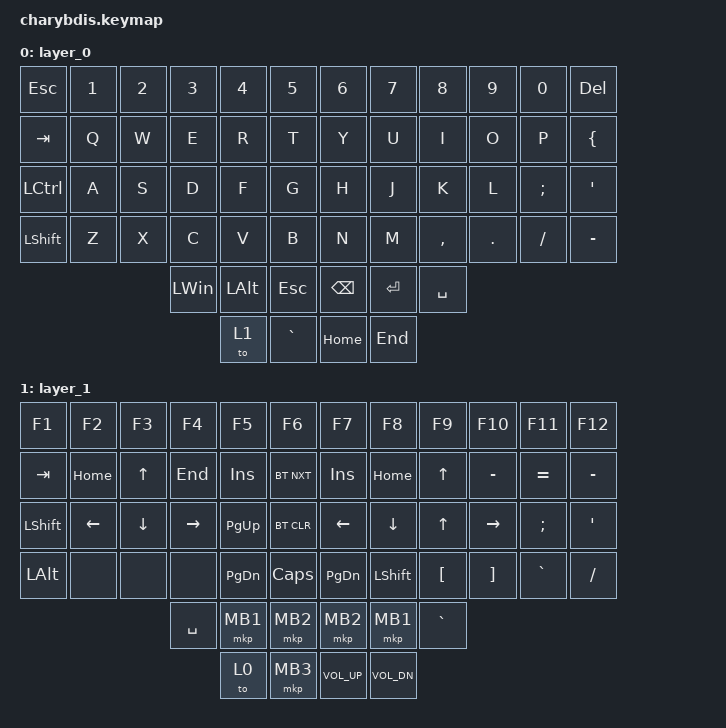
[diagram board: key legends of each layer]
#include <dt-bindings/zmk/mouse.h>
#include <behaviors.dtsi>
#include <dt-bindings/zmk/bt.h>
#include <dt-bindings/zmk/keys.h>

#include <dt-bindings/zmk/outputs.h>
#include <dt-bindings/zmk/rgb.h>
#include <dt-bindings/zmk/ext_power.h>


&lt {
    tapping-term-ms = <200>;
    flavor = "balanced";
    quick-tap-ms = <150>;
};

/ {
    keymap {
        compatible = "zmk,keymap";

        layer_0 {
            bindings = <
&kp ESC         &kp N1  &kp N2  &kp N3        &kp N4     &kp N5      &kp N6         &kp N7     &kp N8       &kp N9      &kp N0    &kp DEL
&kp TAB         &kp Q   &kp W   &kp E         &kp R      &kp T       &kp Y          &kp U      &kp I        &kp O       &kp P     &kp LBRC
&kp LCTRL       &kp A   &kp S   &kp D         &kp F      &kp G       &kp H          &kp J      &kp K        &kp L       &kp SEMI  &kp SQT
&kp LEFT_SHIFT  &kp Z   &kp X   &kp C         &kp V      &kp B       &kp N          &kp M      &kp COMMA    &kp PERIOD  &kp FSLH  &kp MINUS
                                &kp LWIN      &kp LALT   &kp ESC     &kp BSPC       &kp ENTER  &kp SPACE
                                              &to 1      &kp GRAVE   &kp HOME       &kp END 
            >;
           
        };

        layer_1 {
            bindings = <
&kp F1          &kp F2      &kp F3    &kp F4      &kp F5         &kp F6          &kp F7        &kp F8            &kp F9     &kp F10         &kp F11     &kp F12
&kp TAB         &kp HOME    &kp UP    &kp END     &kp INS        &bt BT_NXT      &kp INS       &kp HOME          &kp UP     &kp MINUS       &kp EQUAL   &kp MINUS
&kp LEFT_SHIFT  &kp LEFT    &kp DOWN  &kp RIGHT   &kp PG_UP      &bt BT_CLR      &kp LEFT      &kp DOWN          &kp UP     &kp RIGHT       &kp SEMI     &kp SQT
&kp LALT        &none       &none     &none       &kp PG_DN      &kp CAPS        &kp PG_DN     &kp LEFT_SHIFT    &kp LBKT   &kp RBKT        &kp GRAVE    &kp FSLH
                                      &kp SPACE   &mkp MB1       &mkp MB2        &mkp MB2      &mkp MB1          &kp GRAVE
                                                  &to 0          &mkp MB3        &kp C_VOL_UP  &kp C_VOL_DN



            >;
           
        };

         /* layer_2 {
            bindings = <
&none  &none   &none    &none   &none         &none         &kp N1         &none         &none     &none  &none   &to 0
&none  &none   &none    &none   &none         &none         &none         &none          &rgb_ug RGB_BRD &rgb_ug RGB_BRI  &rgb_ug RGB_EFF   &rgb_ug RGB_TOG
&none  &none   &none    &none   &none         &none         &none         &mkp LCLK     &mkp RCLK  &none  &none   &none
&none  &none   &none    &none   &bt BT_NXT  &bt BT_CLR    &none         &none         &none     &none  &none   &none
                                   &none         &none         &none         &none         &none
                                                 &none         &none         &none
            >;
          trackball-bindings = <&tsl>;
            
        };

       Mouse {
            bindings = <
&none        &none         &none         &none         &none      &none         &none       &none      &none         &none         &none         &none
&none        &bt BT_SEL 0  &bt BT_SEL 1  &bt BT_SEL 3  &none      &bt BT_CLR    &bt BT_CLR  &none      &bt BT_SEL 2  &bt BT_SEL 1  &bt BT_SEL 0  &none
&none        &trans        &trans        &mkp MCLK     &trans     &none         &none       &trans     &mkp MCLK     &trans        &trans        &none
&bootloader  &trans        &mkp RCLK     &mo 4         &mkp LCLK  &mo 5         &mo 5       &mkp LCLK  &mo 4         &mkp RCLK     &trans        &bootloader
                                         &mo 5         &mkp LCLK  &mkp RCLK     &mkp RCLK   &mkp LCLK
                                                       &none      &trans        &trans
            >;

            
        };

        layer_4 {
            bindings = <
&trans  &trans  &trans     &trans     &trans     &trans       &trans     &trans     &trans     &trans     &trans  &trans
&trans  &trans  &trans     &trans     &trans     &trans       &trans     &trans     &trans     &trans     &trans  &trans
&trans  &trans  &trans     &mkp MCLK  &trans     &trans       &trans     &trans     &mkp MCLK  &trans     &trans  &trans
&trans  &trans  &mkp RCLK  &trans     &mkp LCLK  &trans       &trans     &mkp LCLK  &trans     &mkp RCLK  &trans  &trans
                           &trans     &mkp LCLK  &mkp RCLK    &mkp RCLK  &mkp LCLK
                                      &trans     &trans       &trans
            >;
                
                
                trackball-bindings = <&tsl>;
        };

        layer_5 {
            bindings = <
&trans  &trans  &trans     &trans     &trans     &trans       &trans     &trans     &trans     &trans     &trans  &trans
&trans  &trans  &trans     &trans     &trans     &trans       &trans     &trans     &trans     &trans     &trans  &trans
&trans  &trans  &trans     &mkp MCLK  &trans     &trans       &trans     &trans     &mkp MCLK  &trans     &trans  &trans
&trans  &trans  &mkp RCLK  &trans     &mkp LCLK  &trans       &trans     &mkp LCLK  &trans     &mkp RCLK  &trans  &trans
                           &trans     &mkp LCLK  &mkp RCLK    &mkp RCLK  &mkp LCLK
                                      &trans     &trans       &trans
            >;
                trackball-bindings = <&tmv_fine>;
                
        };*/
    };
};
//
